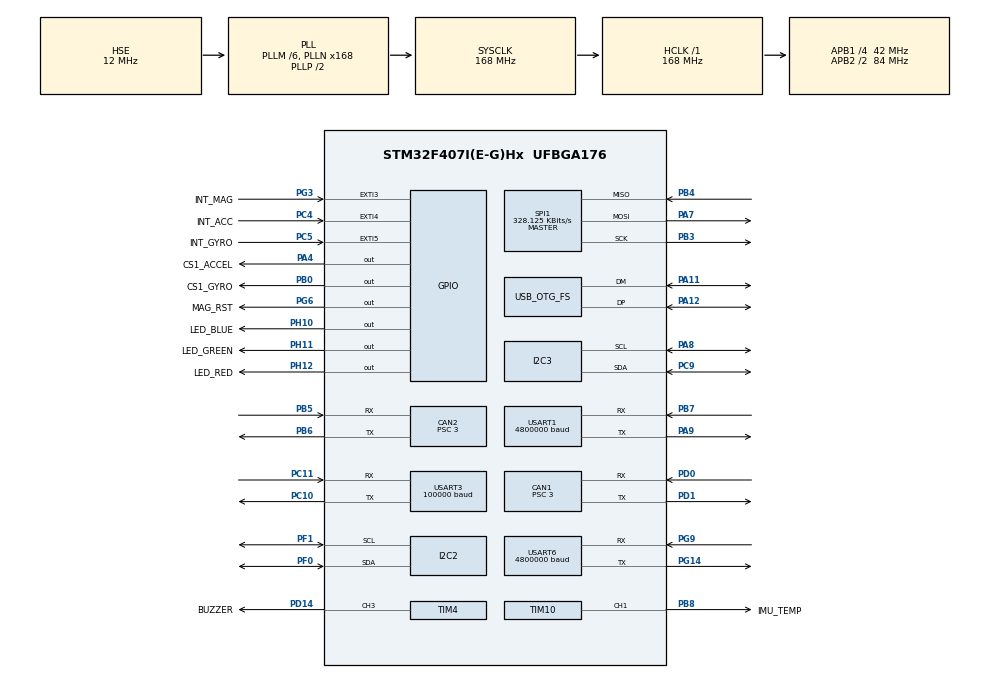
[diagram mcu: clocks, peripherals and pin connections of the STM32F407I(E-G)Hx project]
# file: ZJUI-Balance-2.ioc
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CAN1.BS1=CAN_BS1_10TQ
CAN1.BS2=CAN_BS2_3TQ
CAN1.CalculateBaudRate=1000000
CAN1.CalculateTimeBit=1000
CAN1.CalculateTimeQuantum=71.42857142857143
CAN1.Prescaler=3
CAN1.TXFP=ENABLE
CAN2.BS1=CAN_BS1_10TQ
CAN2.BS2=CAN_BS2_3TQ
CAN2.CalculateBaudRate=1000000
CAN2.CalculateTimeBit=1000
CAN2.CalculateTimeQuantum=71.42857142857143
CAN2.Prescaler=3
CAN2.TXFP=ENABLE
Dma.Request0=SPI1_RX
Dma.Request1=SPI1_TX
Dma.Request2=USART3_RX
Dma.Request3=USART1_TX
Dma.Request4=USART1_RX
Dma.Request5=USART6_RX
Dma.Request6=USART6_TX
Dma.SPI1_RX.0.Direction=DMA_PERIPH_TO_MEMORY
Dma.SPI1_RX.0.FIFOMode=DMA_FIFOMODE_DISABLE
Dma.SPI1_RX.0.Instance=DMA2_Stream2
Dma.SPI1_RX.0.MemDataAlignment=DMA_MDATAALIGN_BYTE
Dma.SPI1_RX.0.MemInc=DMA_MINC_ENABLE
Dma.SPI1_RX.0.Mode=DMA_NORMAL
Dma.SPI1_RX.0.PeriphDataAlignment=DMA_PDATAALIGN_BYTE
Dma.SPI1_RX.0.PeriphInc=DMA_PINC_DISABLE
Dma.SPI1_RX.0.Priority=DMA_PRIORITY_VERY_HIGH
Dma.SPI1_TX.1.Direction=DMA_MEMORY_TO_PERIPH
Dma.SPI1_TX.1.FIFOMode=DMA_FIFOMODE_DISABLE
Dma.SPI1_TX.1.Instance=DMA2_Stream3
Dma.SPI1_TX.1.MemDataAlignment=DMA_MDATAALIGN_BYTE
Dma.SPI1_TX.1.MemInc=DMA_MINC_ENABLE
Dma.SPI1_TX.1.Mode=DMA_NORMAL
Dma.SPI1_TX.1.PeriphDataAlignment=DMA_PDATAALIGN_BYTE
Dma.SPI1_TX.1.PeriphInc=DMA_PINC_DISABLE
Dma.SPI1_TX.1.Priority=DMA_PRIORITY_HIGH
Dma.USART1_RX.4.Direction=DMA_PERIPH_TO_MEMORY
Dma.USART1_RX.4.FIFOMode=DMA_FIFOMODE_DISABLE
Dma.USART1_RX.4.Instance=DMA2_Stream5
Dma.USART1_RX.4.MemDataAlignment=DMA_MDATAALIGN_BYTE
Dma.USART1_RX.4.MemInc=DMA_MINC_ENABLE
Dma.USART1_RX.4.Mode=DMA_NORMAL
Dma.USART1_RX.4.PeriphDataAlignment=DMA_PDATAALIGN_BYTE
Dma.USART1_RX.4.PeriphInc=DMA_PINC_DISABLE
Dma.USART1_RX.4.Priority=DMA_PRIORITY_LOW
Dma.USART1_TX.3.Direction=DMA_MEMORY_TO_PERIPH
Dma.USART1_TX.3.FIFOMode=DMA_FIFOMODE_DISABLE
Dma.USART1_TX.3.Instance=DMA2_Stream7
Dma.USART1_TX.3.MemDataAlignment=DMA_MDATAALIGN_BYTE
Dma.USART1_TX.3.MemInc=DMA_MINC_ENABLE
Dma.USART1_TX.3.Mode=DMA_NORMAL
Dma.USART1_TX.3.PeriphDataAlignment=DMA_PDATAALIGN_BYTE
Dma.USART1_TX.3.PeriphInc=DMA_PINC_DISABLE
Dma.USART1_TX.3.Priority=DMA_PRIORITY_LOW
Dma.USART3_RX.2.Direction=DMA_PERIPH_TO_MEMORY
Dma.USART3_RX.2.FIFOMode=DMA_FIFOMODE_DISABLE
Dma.USART3_RX.2.Instance=DMA1_Stream1
Dma.USART3_RX.2.MemDataAlignment=DMA_MDATAALIGN_BYTE
Dma.USART3_RX.2.MemInc=DMA_MINC_ENABLE
Dma.USART3_RX.2.Mode=DMA_NORMAL
Dma.USART3_RX.2.PeriphDataAlignment=DMA_PDATAALIGN_BYTE
Dma.USART3_RX.2.PeriphInc=DMA_PINC_DISABLE
Dma.USART3_RX.2.Priority=DMA_PRIORITY_LOW
Dma.USART6_RX.5.Direction=DMA_PERIPH_TO_MEMORY
Dma.USART6_RX.5.FIFOMode=DMA_FIFOMODE_DISABLE
Dma.USART6_RX.5.Instance=DMA2_Stream1
Dma.USART6_RX.5.MemDataAlignment=DMA_MDATAALIGN_BYTE
Dma.USART6_RX.5.MemInc=DMA_MINC_ENABLE
Dma.USART6_RX.5.Mode=DMA_NORMAL
Dma.USART6_RX.5.PeriphDataAlignment=DMA_PDATAALIGN_BYTE
Dma.USART6_RX.5.PeriphInc=DMA_PINC_DISABLE
Dma.USART6_RX.5.Priority=DMA_PRIORITY_LOW
Dma.USART6_TX.6.Direction=DMA_MEMORY_TO_PERIPH
Dma.USART6_TX.6.FIFOMode=DMA_FIFOMODE_DISABLE
Dma.USART6_TX.6.Instance=DMA2_Stream6
Dma.USART6_TX.6.MemDataAlignment=DMA_MDATAALIGN_BYTE
Dma.USART6_TX.6.MemInc=DMA_MINC_ENABLE
Dma.USART6_TX.6.Mode=DMA_NORMAL
Dma.USART6_TX.6.PeriphDataAlignment=DMA_PDATAALIGN_BYTE
Dma.USART6_TX.6.PeriphInc=DMA_PINC_DISABLE
Dma.USART6_TX.6.Priority=DMA_PRIORITY_LOW
FREERTOS.Tasks01=defaultTask,0,128,StartDefaultTask,Default,NULL,Dynamic,NULL,NULL
I2C2.I2C_Mode=I2C_Fast
I2C3.I2C_Mode=I2C_Fast
Mcu.Family=STM32F4
Mcu.Name=STM32F407I(E-G)Hx
Mcu.Package=UFBGA176
NVIC.CAN1_RX0_IRQn=true\:5\:0\:false\:false\:true\:true\:true\:true\:true
NVIC.CAN1_RX1_IRQn=true\:5\:0\:false\:false\:true\:true\:true\:true\:true
NVIC.CAN2_RX0_IRQn=true\:5\:0\:false\:false\:true\:true\:true\:true\:true
NVIC.CAN2_RX1_IRQn=true\:5\:0\:false\:false\:true\:true\:true\:true\:true
NVIC.DMA1_Stream1_IRQn=true\:5\:0\:false\:false\:true\:true\:false\:true\:true
NVIC.DMA2_Stream1_IRQn=true\:5\:0\:false\:false\:true\:true\:false\:true\:true
NVIC.DMA2_Stream2_IRQn=true\:5\:0\:false\:false\:true\:true\:false\:true\:true
NVIC.DMA2_Stream3_IRQn=true\:5\:0\:false\:false\:true\:true\:false\:true\:true
NVIC.DMA2_Stream5_IRQn=true\:5\:0\:false\:false\:true\:true\:false\:true\:true
NVIC.DMA2_Stream6_IRQn=true\:5\:0\:false\:false\:true\:true\:false\:true\:true
NVIC.DMA2_Stream7_IRQn=true\:5\:0\:false\:false\:true\:true\:false\:true\:true
NVIC.EXTI3_IRQn=true\:5\:0\:false\:false\:true\:true\:true\:true\:true
NVIC.EXTI4_IRQn=true\:5\:0\:false\:false\:true\:false\:true\:true\:true
NVIC.OTG_FS_IRQn=true\:5\:0\:false\:false\:true\:true\:true\:true\:true
NVIC.PriorityGroup=NVIC_PRIORITYGROUP_4
NVIC.SPI1_IRQn=true\:5\:0\:false\:false\:true\:true\:true\:true\:true
NVIC.USART1_IRQn=true\:5\:0\:false\:false\:true\:true\:true\:true\:true
NVIC.USART3_IRQn=true\:5\:0\:false\:false\:true\:true\:true\:true\:true
NVIC.USART6_IRQn=true\:5\:0\:false\:false\:true\:true\:true\:true\:true
PA11.Mode=Device_Only
PA11.Signal=USB_OTG_FS_DM
PA12.Mode=Device_Only
PA12.Signal=USB_OTG_FS_DP
PA13.Mode=Serial_Wire
PA13.Signal=SYS_JTMS-SWDIO
PA14.Mode=Serial_Wire
PA14.Signal=SYS_JTCK-SWCLK
PA4.GPIO_Label=CS1_ACCEL
PA4.GPIO_PuPd=GPIO_PULLUP
PA4.GPIO_Speed=GPIO_SPEED_FREQ_HIGH
PA4.Signal=GPIO_Output
PA7.GPIO_PuPd=GPIO_PULLUP
PA7.Mode=Full_Duplex_Master
PA7.Signal=SPI1_MOSI
PA8.Mode=I2C
PA8.Signal=I2C3_SCL
PA9.Mode=Asynchronous
PA9.Signal=USART1_TX
PB0.GPIO_Label=CS1_GYRO
PB0.GPIO_PuPd=GPIO_PULLUP
PB0.GPIO_Speed=GPIO_SPEED_FREQ_HIGH
PB0.Signal=GPIO_Output
PB3.GPIO_PuPd=GPIO_PULLUP
PB3.Mode=Full_Duplex_Master
PB3.Signal=SPI1_SCK
PB4.GPIO_PuPd=GPIO_PULLUP
PB4.Mode=Full_Duplex_Master
PB4.Signal=SPI1_MISO
PB5.Mode=CAN_Activate
PB5.Signal=CAN2_RX
PB6.Mode=CAN_Activate
PB6.Signal=CAN2_TX
PB7.Mode=Asynchronous
PB7.Signal=USART1_RX
PB8.GPIO_Label=IMU_TEMP
PB8.GPIO_Speed=GPIO_SPEED_FREQ_HIGH
PB8.Signal=S_TIM10_CH1
PC10.Mode=Asynchronous
PC10.Signal=USART3_TX
PC11.Mode=Asynchronous
PC11.Signal=USART3_RX
PC4.GPIO_Label=INT_ACC
PC4.Signal=GPXTI4
PC5.GPIO_Label=INT_GYRO
PC5.Signal=GPXTI5
PC9.Mode=I2C
PC9.Signal=I2C3_SDA
PD0.Mode=CAN_Activate
PD0.Signal=CAN1_RX
PD1.Mode=CAN_Activate
PD1.Signal=CAN1_TX
PD14.GPIO_Label=BUZZER
PD14.GPIO_Speed=GPIO_SPEED_FREQ_VERY_HIGH
PD14.Signal=S_TIM4_CH3
PF0.Mode=I2C
PF0.Signal=I2C2_SDA
PF1.Mode=I2C
PF1.Signal=I2C2_SCL
PG14.Mode=Asynchronous
PG14.Signal=USART6_TX
PG3.GPIO_Label=INT_MAG
PG3.GPIO_PuPd=GPIO_PULLUP
PG3.Signal=GPXTI3
PG6.GPIO_Label=MAG_RST
PG6.GPIO_PuPd=GPIO_PULLUP
PG6.GPIO_Speed=GPIO_SPEED_FREQ_LOW
PG6.Signal=GPIO_Output
PG9.Mode=Asynchronous
PG9.Signal=USART6_RX
PH0-OSC_IN.Mode=HSE-External-Oscillator
PH0-OSC_IN.Signal=RCC_OSC_IN
PH1-OSC_OUT.Mode=HSE-External-Oscillator
PH1-OSC_OUT.Signal=RCC_OSC_OUT
PH10.GPIO_Label=LED_BLUE
PH10.Signal=GPIO_Output
PH11.GPIO_Label=LED_GREEN
PH11.Signal=GPIO_Output
PH12.GPIO_Label=LED_RED
PH12.Signal=GPIO_Output
ProjectManager.HeapSize=0x1000
ProjectManager.StackSize=0x400
ProjectManager.TargetToolchain=Makefile
RCC.48MHZClocksFreq_Value=48000000
RCC.AHBFreq_Value=168000000
RCC.APB1CLKDivider=RCC_HCLK_DIV4
RCC.APB1Freq_Value=42000000
RCC.APB1TimFreq_Value=84000000
RCC.APB2CLKDivider=RCC_HCLK_DIV2
RCC.APB2Freq_Value=84000000
RCC.APB2TimFreq_Value=168000000
RCC.CortexFreq_Value=168000000
RCC.HCLKFreq_Value=168000000
RCC.HSE_VALUE=12000000
RCC.HSI_VALUE=16000000
RCC.LSE_VALUE=32768
RCC.PLLM=6
RCC.PLLN=168
RCC.PLLQ=7
RCC.SYSCLKFreq_VALUE=168000000
RCC.SYSCLKSource=RCC_SYSCLKSOURCE_PLLCLK
RCC.VCOOutputFreq_Value=336000000
SH.S_TIM10_CH1.0=TIM10_CH1,PWM Generation1 CH1
SH.S_TIM4_CH3.0=TIM4_CH3,PWM Generation3 CH3
SPI1.BaudRatePrescaler=SPI_BAUDRATEPRESCALER_256
SPI1.CLKPhase=SPI_PHASE_2EDGE
SPI1.CLKPolarity=SPI_POLARITY_HIGH
SPI1.CalculateBaudRate=328.125 KBits/s
SPI1.Direction=SPI_DIRECTION_2LINES
SPI1.Mode=SPI_MODE_MASTER
SPI1.VirtualType=VM_MASTER
STMicroelectronics.X-CUBE-ALGOBUILD.1.3.0.LibraryCcDSPOoLibraryJjDSPOoLibrary=true
TIM10.Channel=TIM_CHANNEL_1
TIM10.Period=5000-1
TIM10.Prescaler=167
TIM4.AutoReloadPreload=TIM_AUTORELOAD_PRELOAD_ENABLE
TIM4.Channel-PWM\ Generation3\ CH3=TIM_CHANNEL_3
TIM4.Period=21000
TIM4.Prescaler=0
TIM4.Pulse-PWM\ Generation3\ CH3=10500
USART1.BaudRate=4800000
USART1.VirtualMode=VM_ASYNC
USART3.BaudRate=100000
USART3.Parity=PARITY_EVEN
USART3.VirtualMode=VM_ASYNC
USART3.WordLength=WORDLENGTH_9B
USART6.BaudRate=4800000
USART6.VirtualMode=VM_ASYNC
USB_DEVICE.CLASS_NAME_FS=CDC
USB_DEVICE.PID_CDC_FS=202
USB_DEVICE.PRODUCT_STRING_CDC_FS=Vision Comm port
USB_DEVICE.VirtualMode-CDC_FS=Cdc
USB_DEVICE.VirtualModeFS=Cdc_FS
USB_OTG_FS.VirtualMode=Device_Only
VP_FREERTOS_VS_CMSIS_V1.Mode=CMSIS_V1
VP_STMicroelectronics.X-CUBE-ALGOBUILD_VS_DSPOoLibraryJjLibrary_1.3.0_1.3.0.Mode=DSPOoLibraryJjLibrary
VP_TIM10_VS_ClockSourceINT.Mode=Enable_Timer
VP_USB_DEVICE_VS_USB_DEVICE_CDC_FS.Mode=CDC_FS
board=custom

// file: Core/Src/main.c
/* USER CODE BEGIN Header */
/**
  ******************************************************************************
  * @file           : main.c
  * @brief          : Main program body
  ******************************************************************************
  * @attention
  *
  * Copyright (c) 2024 STMicroelectronics.
  * All rights reserved.
  *
  * This software is licensed under terms that can be found in the LICENSE file
  * in the root directory of this software component.
  * If no LICENSE file comes with this software, it is provided AS-IS.
  *
  ******************************************************************************
  */
/* USER CODE END Header */
#include "main.h"
#include "cmsis_os.h"
#include "can.h"
#include "dma.h"
#include "i2c.h"
#include "spi.h"
#include "tim.h"
#include "usart.h"
#include "usb_device.h"
#include "gpio.h"

/* USER CODE BEGIN Includes */
#include "bsp_can.h"
#include "dm_motor_drv.h"
#include "dm_motor_ctrl.h"
#include "rc.h"
/* USER CODE END Includes */

/* USER CODE BEGIN PD */
#define PI (3.1415927f)
/* USER CODE END PD */

/* USER CODE BEGIN PV */
extern RC_Type rc;        // 遥控器数据

/* USER CODE END PV */

void SystemClock_Config(void);
void MX_FREERTOS_Init(void);

int main(void)
{

  /* MCU Configuration--------------------------------------------------------*/

  /* Reset of all peripherals, Initializes the Flash interface and the Systick. */
  HAL_Init();

  /* Configure the system clock */
  SystemClock_Config();

  /* Initialize all configured peripherals */
  MX_GPIO_Init();
  MX_DMA_Init();
  MX_I2C2_Init();
  MX_SPI1_Init();
  MX_I2C3_Init();
  MX_TIM10_Init();
  MX_USART3_UART_Init();
  MX_CAN1_Init();
  MX_CAN2_Init();
  MX_TIM4_Init();
  MX_USART1_UART_Init();
  MX_USART6_UART_Init();
  /* USER CODE BEGIN 2 */
  Dbus_Init();     // 遥控器初始化
  bsp_can_init();                            HAL_Delay(1);                 // CAN 初始化，包含 HAL_CAN_Start(&hcan1) 代码，没有该代码无法发送 CAN 数据
  dm_motor_init();                           HAL_Delay(10);                // 电机 1+2 初始化
  dm_motor_enable(&hcan1, &motor[Motor1]);   HAL_Delay(10);                // 电机 1 使能
	dm_motor_enable(&hcan1, &motor[Motor2]);   HAL_Delay(10);                // 电机 2 使能
	dm_motor_enable(&hcan1, &motor[Motor3]);   HAL_Delay(10);                // 电机 3 使能
	dm_motor_enable(&hcan1, &motor[Motor4]);   HAL_Delay(10);                // 电机 4 使能

  HAL_GPIO_WritePin(GPIOH, GPIO_PIN_11, GPIO_PIN_RESET);  // 灭灯
  /* USER CODE END 2 */

  /* Call init function for freertos objects (in cmsis_os2.c) */
  // MX_FREERTOS_Init();

  /* Start scheduler */
  // osKernelStart();

  /* We should never get here as control is now taken by the scheduler */

  /* Infinite loop */
  while (1)
  {

    /* USER CODE BEGIN 3 */

    // HAL_GPIO_TogglePin(GPIOH, GPIO_PIN_11);  // 亮灯测试
    // HAL_Delay(500);
    // // 速度模式
		// mit_ctrl(&hcan1, &motor[Motor1], motor[Motor1].id, 0, rc.LY*8.0f, 0, 1, 0);  HAL_Delay(3);  // Pos Vel KP KD Torque
		// mit_ctrl(&hcan1, &motor[Motor2], motor[Motor2].id, 0, rc.RY*8.0f, 0, 1, 0);  HAL_Delay(3);  // Pos Vel KP KD Torque
    if (rc.sw1 == SW_UP) {
      // 位置模式
      mit_ctrl(&hcan1, &motor[Motor1], motor[Motor1].id, 0, 0, 15, 1, 0);  HAL_Delay(2);  // Pos Vel KP KD Torque
      mit_ctrl(&hcan1, &motor[Motor2], motor[Motor2].id, 0, 0, 15, 1, 0);  HAL_Delay(2);  // Pos Vel KP KD Torque
      mit_ctrl(&hcan1, &motor[Motor3], motor[Motor3].id, 0, 0, 15, 1, 0);  HAL_Delay(2);  // Pos Vel KP KD Torque
      mit_ctrl(&hcan1, &motor[Motor4], motor[Motor4].id, 0, 0, 15, 1, 0);  HAL_Delay(2);  // Pos Vel KP KD Torque
    }
    if (rc.sw1 == SW_MID) {
      // 位置模式
      mit_ctrl(&hcan1, &motor[Motor1], motor[Motor1].id, -rc.LY*PI/3, 0, 15, 1, 0);  HAL_Delay(2);  // Pos Vel KP KD Torque
      mit_ctrl(&hcan1, &motor[Motor2], motor[Motor2].id, +rc.LY*PI/3, 0, 15, 1, 0);  HAL_Delay(2);  // Pos Vel KP KD Torque
      mit_ctrl(&hcan1, &motor[Motor3], motor[Motor3].id, +rc.LY*PI/3, 0, 15, 1, 0);  HAL_Delay(2);  // Pos Vel KP KD Torque
      mit_ctrl(&hcan1, &motor[Motor4], motor[Motor4].id, -rc.LY*PI/3, 0, 15, 1, 0);  HAL_Delay(2);  // Pos Vel KP KD Torque
    }

  }
  /* USER CODE END 3 */
}

void SystemClock_Config(void)
{
  RCC_OscInitTypeDef RCC_OscInitStruct = {0};
  RCC_ClkInitTypeDef RCC_ClkInitStruct = {0};

  /** Configure the main internal regulator output voltage
  */
  __HAL_RCC_PWR_CLK_ENABLE();
  __HAL_PWR_VOLTAGESCALING_CONFIG(PWR_REGULATOR_VOLTAGE_SCALE1);

  /** Initializes the RCC Oscillators according to the specified parameters
  * in the RCC_OscInitTypeDef structure.
  */
  RCC_OscInitStruct.OscillatorType = RCC_OSCILLATORTYPE_HSE;
  RCC_OscInitStruct.HSEState = RCC_HSE_ON;
  RCC_OscInitStruct.PLL.PLLState = RCC_PLL_ON;
  RCC_OscInitStruct.PLL.PLLSource = RCC_PLLSOURCE_HSE;
  RCC_OscInitStruct.PLL.PLLM = 6;
  RCC_OscInitStruct.PLL.PLLN = 168;
  RCC_OscInitStruct.PLL.PLLP = RCC_PLLP_DIV2;
  RCC_OscInitStruct.PLL.PLLQ = 7;
  if (HAL_RCC_OscConfig(&RCC_OscInitStruct) != HAL_OK)
  {
    Error_Handler();
  }

  /** Initializes the CPU, AHB and APB buses clocks
  */
  RCC_ClkInitStruct.ClockType = RCC_CLOCKTYPE_HCLK|RCC_CLOCKTYPE_SYSCLK
                              |RCC_CLOCKTYPE_PCLK1|RCC_CLOCKTYPE_PCLK2;
  RCC_ClkInitStruct.SYSCLKSource = RCC_SYSCLKSOURCE_PLLCLK;
  RCC_ClkInitStruct.AHBCLKDivider = RCC_SYSCLK_DIV1;
  RCC_ClkInitStruct.APB1CLKDivider = RCC_HCLK_DIV4;
  RCC_ClkInitStruct.APB2CLKDivider = RCC_HCLK_DIV2;

  if (HAL_RCC_ClockConfig(&RCC_ClkInitStruct, FLASH_LATENCY_5) != HAL_OK)
  {
    Error_Handler();
  }
}

void Error_Handler(void)
{
  __disable_irq();
  while (1)
  {
  }
}
